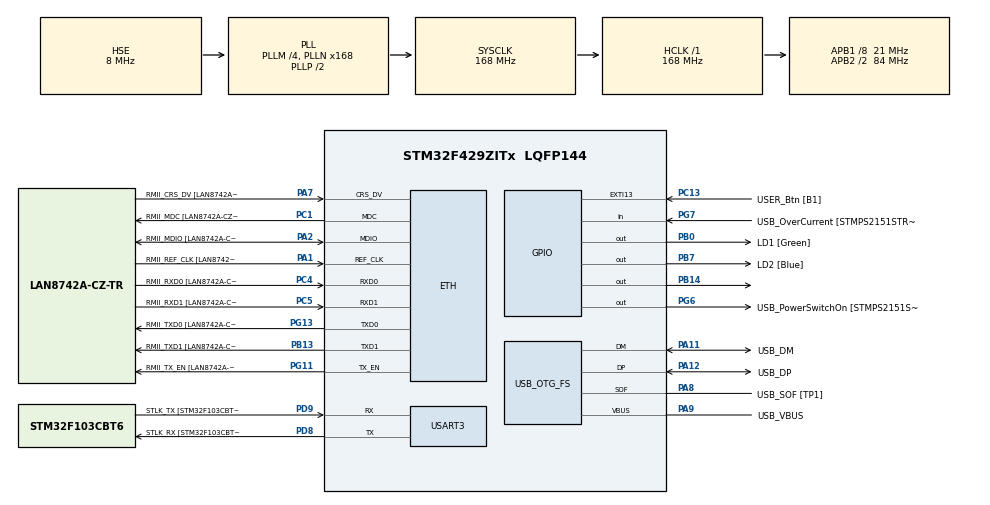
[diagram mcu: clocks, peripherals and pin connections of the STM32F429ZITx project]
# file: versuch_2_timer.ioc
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ETH.MediaInterface=HAL_ETH_RMII_MODE
ETH.PHY_Name=LAN8742A_PHY_ADDRESS
ETH.PHY_Value=0
ETH.PhyAddress=0
Mcu.Family=STM32F4
Mcu.Name=STM32F429ZITx
Mcu.Package=LQFP144
NVIC.PriorityGroup=NVIC_PRIORITYGROUP_4
NVIC.TIM4_IRQn=true\:0\:0\:false\:false\:true\:true\:true\:true
PA1.GPIO_Label=RMII_REF_CLK [LAN8742A-CZ-TR_REFCLK0]
PA1.Mode=RMII
PA1.Signal=ETH_REF_CLK
PA10.GPIO_Label=USB_ID
PA10.Signal=USB_OTG_FS_ID
PA11.GPIO_Label=USB_DM
PA11.Mode=Device_Only
PA11.Signal=USB_OTG_FS_DM
PA12.GPIO_Label=USB_DP
PA12.Mode=Device_Only
PA12.Signal=USB_OTG_FS_DP
PA13.GPIO_Label=TMS
PA13.Mode=Serial_Wire
PA13.Signal=SYS_JTMS-SWDIO
PA14.GPIO_Label=TCK
PA14.Mode=Serial_Wire
PA14.Signal=SYS_JTCK-SWCLK
PA2.GPIO_Label=RMII_MDIO [LAN8742A-CZ-TR_MDIO]
PA2.Mode=RMII
PA2.Signal=ETH_MDIO
PA7.GPIO_Label=RMII_CRS_DV [LAN8742A-CZ-TR_CRS_DV]
PA7.Mode=RMII
PA7.Signal=ETH_CRS_DV
PA8.GPIO_Label=USB_SOF [TP1]
PA8.Mode=Activate_SOF_FS
PA8.Signal=USB_OTG_FS_SOF
PA9.GPIO_Label=USB_VBUS
PA9.Mode=Activate_VBUS
PA9.Signal=USB_OTG_FS_VBUS
PB0.GPIO_Label=LD1 [Green]
PB0.Signal=GPIO_Output
PB13.GPIO_Label=RMII_TXD1 [LAN8742A-CZ-TR_TXD1]
PB13.Mode=RMII
PB13.Signal=ETH_TXD1
PB14.Signal=GPIO_Output
PB7.GPIO_Label=LD2 [Blue]
PB7.Signal=GPIO_Output
PC1.GPIO_Label=RMII_MDC [LAN8742A-CZ-TR_MDC]
PC1.Mode=RMII
PC1.Signal=ETH_MDC
PC13.GPIO_Label=USER_Btn [B1]
PC13.Signal=GPXTI13
PC14/OSC32_IN.Mode=LSE-External-Oscillator
PC14/OSC32_IN.Signal=RCC_OSC32_IN
PC15/OSC32_OUT.Mode=LSE-External-Oscillator
PC15/OSC32_OUT.Signal=RCC_OSC32_OUT
PC4.GPIO_Label=RMII_RXD0 [LAN8742A-CZ-TR_RXD0]
PC4.Mode=RMII
PC4.Signal=ETH_RXD0
PC5.GPIO_Label=RMII_RXD1 [LAN8742A-CZ-TR_RXD1]
PC5.Mode=RMII
PC5.Signal=ETH_RXD1
PD8.GPIO_Label=STLK_RX [STM32F103CBT6_PA3]
PD8.Mode=Asynchronous
PD8.Signal=USART3_TX
PD9.GPIO_Label=STLK_TX [STM32F103CBT6_PA2]
PD9.Mode=Asynchronous
PD9.Signal=USART3_RX
PG11.GPIO_Label=RMII_TX_EN [LAN8742A-CZ-TR_TXEN]
PG11.Mode=RMII
PG11.Signal=ETH_TX_EN
PG13.GPIO_Label=RMII_TXD0 [LAN8742A-CZ-TR_TXD0]
PG13.Mode=RMII
PG13.Signal=ETH_TXD0
PG6.GPIO_Label=USB_PowerSwitchOn [STMPS2151STR_EN]
PG6.Signal=GPIO_Output
PG7.GPIO_Label=USB_OverCurrent [STMPS2151STR_FAULT]
PG7.Signal=GPIO_Input
PH0/OSC_IN.GPIO_Label=MCO [STM32F103CBT6_PA8]
PH0/OSC_IN.Mode=HSE-External-Clock-Source
PH0/OSC_IN.Signal=RCC_OSC_IN
PH1/OSC_OUT.Mode=HSE-External-Clock-Source
PH1/OSC_OUT.Signal=RCC_OSC_OUT
ProjectManager.HeapSize=0x200
ProjectManager.StackSize=0x400
ProjectManager.TargetToolchain=STM32CubeIDE
RCC.48MHZClocksFreq_Value=48000000
RCC.AHBFreq_Value=168000000
RCC.APB1CLKDivider=RCC_HCLK_DIV8
RCC.APB1Freq_Value=21000000
RCC.APB1TimFreq_Value=42000000
RCC.APB2CLKDivider=RCC_HCLK_DIV2
RCC.APB2Freq_Value=84000000
RCC.APB2TimFreq_Value=168000000
RCC.CortexFreq_Value=168000000
RCC.HCLKFreq_Value=168000000
RCC.HSE_VALUE=8000000
RCC.HSI_VALUE=16000000
RCC.PLLM=4
RCC.PLLMUL=RCC_PLL_MUL9
RCC.PLLN=168
RCC.PLLQ=7
RCC.PRESCALERUSB=RCC_USBCLKSOURCE_PLL_DIV1_5
RCC.SYSCLKFreq_VALUE=168000000
RCC.SYSCLKSource=RCC_SYSCLKSOURCE_PLLCLK
RCC.SYSCLKSourceVirtual=RCC_SYSCLKSOURCE_PLLCLK
RCC.USBFreq_Value=48000000
RCC.VCOOutputFreq_Value=336000000
TIM12.Period=999
TIM4.Period=999
TIM4.Prescaler=42000-1
USART3.VirtualMode=VM_ASYNC
USB_OTG_FS.VirtualMode=Device_Only
VP_TIM12_VS_ClockSourceINT.Mode=Internal
VP_TIM4_VS_ClockSourceINT.Mode=Internal
board=NUCLEO-F429ZI

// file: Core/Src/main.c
/* USER CODE BEGIN Header */
/**
  ******************************************************************************
  * @file           : main.c
  * @brief          : Main program body
  ******************************************************************************
  * @attention
  *
  * Copyright (c) 2023 STMicroelectronics.
  * All rights reserved.
  *
  * This software is licensed under terms that can be found in the LICENSE file
  * in the root directory of this software component.
  * If no LICENSE file comes with this software, it is provided AS-IS.
  *
  ******************************************************************************
  */
/* USER CODE END Header */
#include "main.h"
#include "string.h"

ETH_TxPacketConfig TxConfig;
ETH_DMADescTypeDef  DMARxDscrTab[ETH_RX_DESC_CNT]; /* Ethernet Rx DMA Descriptors */
ETH_DMADescTypeDef  DMATxDscrTab[ETH_TX_DESC_CNT]; /* Ethernet Tx DMA Descriptors */

ETH_HandleTypeDef heth;

TIM_HandleTypeDef htim4;
TIM_HandleTypeDef htim12;

UART_HandleTypeDef huart3;

PCD_HandleTypeDef hpcd_USB_OTG_FS;

/* USER CODE BEGIN PV */

char uart_buf[50];
int uart_buf_len;
uint16_t timer_val;

//Aufgabe 1

 GPIO_TypeDef* gpioPeripheral_array[3] = {GPIO_PIN_0, GPIO_PIN_7, GPIO_PIN_14};

/* USER CODE END PV */

void SystemClock_Config(void);
static void MX_GPIO_Init(void);
static void MX_ETH_Init(void);
static void MX_USART3_UART_Init(void);
static void MX_USB_OTG_FS_PCD_Init(void);
static void MX_TIM4_Init(void);
static void MX_TIM12_Init(void);

int main(void)
{
  /* USER CODE BEGIN 1 */

	 //HAL_TIM_PWM_Start(&htim4, TIM_CHANNEL_1);

  /* USER CODE END 1 */

  /* MCU Configuration--------------------------------------------------------*/

  /* Reset of all peripherals, Initializes the Flash interface and the Systick. */
  HAL_Init();

  /* Configure the system clock */
  SystemClock_Config();

  /* Initialize all configured peripherals */
  MX_GPIO_Init();
  MX_ETH_Init();
  MX_USART3_UART_Init();
  MX_USB_OTG_FS_PCD_Init();
  MX_TIM4_Init();
  MX_TIM12_Init();
  /* USER CODE BEGIN 2 */

  //

  uart_buf_len = sprintf(uart_buf, "Timertest\r\n");
  HAL_UART_Transmit(&huart3, (uint8_t *)uart_buf, uart_buf_len, 100);

  //start timer

  HAL_TIM_Base_Start_IT(&htim4);

  timer_val = __HAL_TIM_GET_COUNTER(&htim4);

  /* USER CODE END 2 */

  /* Infinite loop */
  /* USER CODE BEGIN WHILE */
  while (1)
  {

	  //Aufgabe 1
/*
	  for(int i=0;i<3;i++){
		  if(!HAL_GPIO_ReadPin(GPIOC, GPIO_PIN_13)){
	  		HAL_Delay(250); //500 ms = 2 hz
	  		HAL_GPIO_TogglePin(GPIOB, gpioPeripheral_array[i]);
	  		HAL_Delay(250);
	  		HAL_GPIO_TogglePin(GPIOB, gpioPeripheral_array[i]);

	  		timer_val = __HAL_TIM_GET_COUNTER(&htim4);
		  }

	  }
*/
	  // Aufgabe 3

    /* USER CODE END WHILE */

  }
}

void SystemClock_Config(void)
{
  RCC_OscInitTypeDef RCC_OscInitStruct = {0};
  RCC_ClkInitTypeDef RCC_ClkInitStruct = {0};

  /** Configure the main internal regulator output voltage
  */
  __HAL_RCC_PWR_CLK_ENABLE();
  __HAL_PWR_VOLTAGESCALING_CONFIG(PWR_REGULATOR_VOLTAGE_SCALE1);

  /** Initializes the RCC Oscillators according to the specified parameters
  * in the RCC_OscInitTypeDef structure.
  */
  RCC_OscInitStruct.OscillatorType = RCC_OSCILLATORTYPE_HSE;
  RCC_OscInitStruct.HSEState = RCC_HSE_BYPASS;
  RCC_OscInitStruct.PLL.PLLState = RCC_PLL_ON;
  RCC_OscInitStruct.PLL.PLLSource = RCC_PLLSOURCE_HSE;
  RCC_OscInitStruct.PLL.PLLM = 4;
  RCC_OscInitStruct.PLL.PLLN = 168;
  RCC_OscInitStruct.PLL.PLLP = RCC_PLLP_DIV2;
  RCC_OscInitStruct.PLL.PLLQ = 7;
  if (HAL_RCC_OscConfig(&RCC_OscInitStruct) != HAL_OK)
  {
    Error_Handler();
  }

  /** Initializes the CPU, AHB and APB buses clocks
  */
  RCC_ClkInitStruct.ClockType = RCC_CLOCKTYPE_HCLK|RCC_CLOCKTYPE_SYSCLK
                              |RCC_CLOCKTYPE_PCLK1|RCC_CLOCKTYPE_PCLK2;
  RCC_ClkInitStruct.SYSCLKSource = RCC_SYSCLKSOURCE_PLLCLK;
  RCC_ClkInitStruct.AHBCLKDivider = RCC_SYSCLK_DIV1;
  RCC_ClkInitStruct.APB1CLKDivider = RCC_HCLK_DIV8;
  RCC_ClkInitStruct.APB2CLKDivider = RCC_HCLK_DIV2;

  if (HAL_RCC_ClockConfig(&RCC_ClkInitStruct, FLASH_LATENCY_5) != HAL_OK)
  {
    Error_Handler();
  }
}

static void MX_ETH_Init(void)
{

   static uint8_t MACAddr[6];

  heth.Instance = ETH;
  MACAddr[0] = 0x00;
  MACAddr[1] = 0x80;
  MACAddr[2] = 0xE1;
  MACAddr[3] = 0x00;
  MACAddr[4] = 0x00;
  MACAddr[5] = 0x00;
  heth.Init.MACAddr = &MACAddr[0];
  heth.Init.MediaInterface = HAL_ETH_RMII_MODE;
  heth.Init.TxDesc = DMATxDscrTab;
  heth.Init.RxDesc = DMARxDscrTab;
  heth.Init.RxBuffLen = 1524;

  if (HAL_ETH_Init(&heth) != HAL_OK)
  {
    Error_Handler();
  }

  memset(&TxConfig, 0 , sizeof(ETH_TxPacketConfig));
  TxConfig.Attributes = ETH_TX_PACKETS_FEATURES_CSUM | ETH_TX_PACKETS_FEATURES_CRCPAD;
  TxConfig.ChecksumCtrl = ETH_CHECKSUM_IPHDR_PAYLOAD_INSERT_PHDR_CALC;
  TxConfig.CRCPadCtrl = ETH_CRC_PAD_INSERT;

}

static void MX_TIM4_Init(void)
{

  TIM_ClockConfigTypeDef sClockSourceConfig = {0};
  TIM_MasterConfigTypeDef sMasterConfig = {0};

  htim4.Instance = TIM4;
  htim4.Init.Prescaler = 42000-1;
  htim4.Init.CounterMode = TIM_COUNTERMODE_UP;
  htim4.Init.Period = 999;
  htim4.Init.ClockDivision = TIM_CLOCKDIVISION_DIV1;
  htim4.Init.AutoReloadPreload = TIM_AUTORELOAD_PRELOAD_DISABLE;
  if (HAL_TIM_Base_Init(&htim4) != HAL_OK)
  {
    Error_Handler();
  }
  sClockSourceConfig.ClockSource = TIM_CLOCKSOURCE_INTERNAL;
  if (HAL_TIM_ConfigClockSource(&htim4, &sClockSourceConfig) != HAL_OK)
  {
    Error_Handler();
  }
  sMasterConfig.MasterOutputTrigger = TIM_TRGO_RESET;
  sMasterConfig.MasterSlaveMode = TIM_MASTERSLAVEMODE_DISABLE;
  if (HAL_TIMEx_MasterConfigSynchronization(&htim4, &sMasterConfig) != HAL_OK)
  {
    Error_Handler();
  }

}

static void MX_TIM12_Init(void)
{

  TIM_ClockConfigTypeDef sClockSourceConfig = {0};

  htim12.Instance = TIM12;
  htim12.Init.Prescaler = 0;
  htim12.Init.CounterMode = TIM_COUNTERMODE_UP;
  htim12.Init.Period = 999;
  htim12.Init.ClockDivision = TIM_CLOCKDIVISION_DIV1;
  htim12.Init.AutoReloadPreload = TIM_AUTORELOAD_PRELOAD_DISABLE;
  if (HAL_TIM_Base_Init(&htim12) != HAL_OK)
  {
    Error_Handler();
  }
  sClockSourceConfig.ClockSource = TIM_CLOCKSOURCE_INTERNAL;
  if (HAL_TIM_ConfigClockSource(&htim12, &sClockSourceConfig) != HAL_OK)
  {
    Error_Handler();
  }

}

static void MX_USART3_UART_Init(void)
{

  huart3.Instance = USART3;
  huart3.Init.BaudRate = 115200;
  huart3.Init.WordLength = UART_WORDLENGTH_8B;
  huart3.Init.StopBits = UART_STOPBITS_1;
  huart3.Init.Parity = UART_PARITY_NONE;
  huart3.Init.Mode = UART_MODE_TX_RX;
  huart3.Init.HwFlowCtl = UART_HWCONTROL_NONE;
  huart3.Init.OverSampling = UART_OVERSAMPLING_16;
  if (HAL_UART_Init(&huart3) != HAL_OK)
  {
    Error_Handler();
  }

}

static void MX_USB_OTG_FS_PCD_Init(void)
{

  hpcd_USB_OTG_FS.Instance = USB_OTG_FS;
  hpcd_USB_OTG_FS.Init.dev_endpoints = 4;
  hpcd_USB_OTG_FS.Init.speed = PCD_SPEED_FULL;
  hpcd_USB_OTG_FS.Init.dma_enable = DISABLE;
  hpcd_USB_OTG_FS.Init.phy_itface = PCD_PHY_EMBEDDED;
  hpcd_USB_OTG_FS.Init.Sof_enable = ENABLE;
  hpcd_USB_OTG_FS.Init.low_power_enable = DISABLE;
  hpcd_USB_OTG_FS.Init.lpm_enable = DISABLE;
  hpcd_USB_OTG_FS.Init.vbus_sensing_enable = ENABLE;
  hpcd_USB_OTG_FS.Init.use_dedicated_ep1 = DISABLE;
  if (HAL_PCD_Init(&hpcd_USB_OTG_FS) != HAL_OK)
  {
    Error_Handler();
  }

}

static void MX_GPIO_Init(void)
{
  GPIO_InitTypeDef GPIO_InitStruct = {0};

  /* GPIO Ports Clock Enable */
  __HAL_RCC_GPIOC_CLK_ENABLE();
  __HAL_RCC_GPIOH_CLK_ENABLE();
  __HAL_RCC_GPIOA_CLK_ENABLE();
  __HAL_RCC_GPIOB_CLK_ENABLE();
  __HAL_RCC_GPIOD_CLK_ENABLE();
  __HAL_RCC_GPIOG_CLK_ENABLE();

  /*Configure GPIO pin Output Level */
  HAL_GPIO_WritePin(GPIOB, LD1_Pin|GPIO_PIN_14|LD2_Pin, GPIO_PIN_RESET);

  /*Configure GPIO pin Output Level */
  HAL_GPIO_WritePin(USB_PowerSwitchOn_GPIO_Port, USB_PowerSwitchOn_Pin, GPIO_PIN_RESET);

  /*Configure GPIO pin : USER_Btn_Pin */
  GPIO_InitStruct.Pin = USER_Btn_Pin;
  GPIO_InitStruct.Mode = GPIO_MODE_IT_RISING;
  GPIO_InitStruct.Pull = GPIO_NOPULL;
  HAL_GPIO_Init(USER_Btn_GPIO_Port, &GPIO_InitStruct);

  /*Configure GPIO pins : LD1_Pin PB14 LD2_Pin */
  GPIO_InitStruct.Pin = LD1_Pin|GPIO_PIN_14|LD2_Pin;
  GPIO_InitStruct.Mode = GPIO_MODE_OUTPUT_PP;
  GPIO_InitStruct.Pull = GPIO_NOPULL;
  GPIO_InitStruct.Speed = GPIO_SPEED_FREQ_LOW;
  HAL_GPIO_Init(GPIOB, &GPIO_InitStruct);

  /*Configure GPIO pin : USB_PowerSwitchOn_Pin */
  GPIO_InitStruct.Pin = USB_PowerSwitchOn_Pin;
  GPIO_InitStruct.Mode = GPIO_MODE_OUTPUT_PP;
  GPIO_InitStruct.Pull = GPIO_NOPULL;
  GPIO_InitStruct.Speed = GPIO_SPEED_FREQ_LOW;
  HAL_GPIO_Init(USB_PowerSwitchOn_GPIO_Port, &GPIO_InitStruct);

  /*Configure GPIO pin : USB_OverCurrent_Pin */
  GPIO_InitStruct.Pin = USB_OverCurrent_Pin;
  GPIO_InitStruct.Mode = GPIO_MODE_INPUT;
  GPIO_InitStruct.Pull = GPIO_NOPULL;
  HAL_GPIO_Init(USB_OverCurrent_GPIO_Port, &GPIO_InitStruct);

}

/* USER CODE BEGIN 4 */

// Aufgabe 2

uint8_t state = 0;

void HAL_TIM_PeriodElapsedCallback(TIM_HandleTypeDef *htim)
{
    if(htim == &htim4)  // Check if it's indeed Timer 4 interrupt
    {
        switch(state)
        {
            case 0:
                HAL_GPIO_TogglePin(GPIOB, GPIO_PIN_0);
                state = 1;
                break;

            case 1:
                HAL_GPIO_TogglePin(GPIOB, GPIO_PIN_0);
                HAL_GPIO_TogglePin(GPIOB, GPIO_PIN_7);
                state = 2;
                break;
            case 2:
                HAL_GPIO_TogglePin(GPIOB, GPIO_PIN_7);
                HAL_GPIO_TogglePin(GPIOB, GPIO_PIN_14);
                state = 3;
                break;
            case 3:
                HAL_GPIO_TogglePin(GPIOB, GPIO_PIN_14);
                HAL_GPIO_TogglePin(GPIOB, GPIO_PIN_7);
                state = 4;
                break;

            case 4:
                HAL_GPIO_TogglePin(GPIOB, GPIO_PIN_7);
                HAL_GPIO_TogglePin(GPIOB, GPIO_PIN_0);
                state = 5;
                break;
            case 5:
            	HAL_GPIO_TogglePin(GPIOB, GPIO_PIN_0);
            	state = 0;
            	break;

        }

    }
}

/* USER CODE END 4 */

void Error_Handler(void)
{
  __disable_irq();
  while (1)
  {
  }
}
